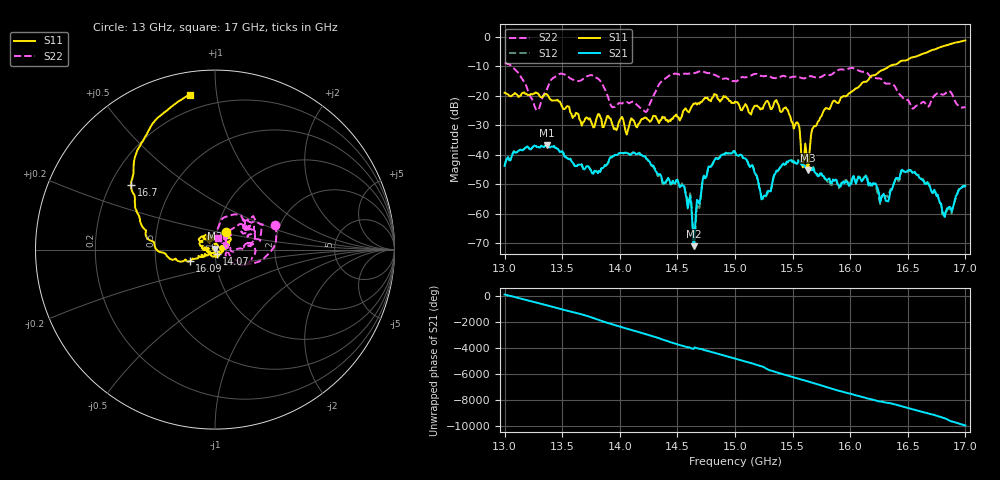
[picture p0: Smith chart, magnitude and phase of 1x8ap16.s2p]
!Keysight Technologies,P9374A,MY57211807,A.19.30.04
!Date: Friday, May 08, 2026 14:33:40
!Correction: S11(C  2-Port  )
!S21(C  2-Port  )
!S12(C  2-Port  )
!S22(C  2-Port  )
!S2P File: Measurements: S11, S21, S12, S22:
# Hz S  dB  R 50
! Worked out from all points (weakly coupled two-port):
!   401 points, 13 GHz to 17 GHz, reference 50 ohm
!   highest |S21| = -36.70 dB at 13.37 GHz (marker M1); lowest = -71.0 dB at 14.64 GHz (marker M2)
!   lowest |S11| = -45.1 dB at 15.63 GHz (marker M3), VSWR 1.01, Z = 50 + j0.554 ohm
!   |S11| at or under -10 dB: start of sweep to 16.34 GHz
!   |S22| runs from -25.4 to -8.9 dB; largest |S21 - S12| = 0.00063
!   S11 on the Smith chart (normalised r, x): 13 GHz: 1.11, +0.22; 14.07 GHz: 1.02, -0.05; 16.09 GHz: 0.75, -0.10; 16.7 GHz: 0.29, +0.31; 17 GHz: 0.12, +0.84
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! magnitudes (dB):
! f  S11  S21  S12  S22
! 13 GHz  -18.9  -43.7  -43.8  -8.9
! 13.28 GHz  -19.0  -37.3  -37.4  -24.9
! 13.37 GHz  -19.6  -36.7  -36.7  -17.6
! 13.67 GHz  -30.1  -43.3  -43.2  -14.6
! 14.07 GHz  -31.7  -39.5  -39.4  -22.2
! 14.23 GHz  -27.4  -41.3  -41.3  -25.4
! 14.34 GHz  -29.2  -46.6  -47.0  -16.2
! 14.55 GHz  -25.1  -50.3  -49.8  -12.5
! 14.64 GHz  -22.6  -71.0  -67.2  -12.3
! 14.79 GHz  -21.8  -44.0  -43.9  -12.2
! 15 GHz  -21.9  -38.9  -38.9  -15.0
! 15.16 GHz  -24.1  -44.4  -44.5  -12.6
! 15.25 GHz  -23.3  -53.8  -54.8  -13.3
! 15.45 GHz  -24.5  -42.2  -42.4  -13.7
! 15.63 GHz  -45.1  -44.5  -43.8  -13.5
! 15.67 GHz  -31.2  -45.2  -44.9  -13.4
! 16.09 GHz  -16.2  -48.2  -47.9  -11.6
! 16.34 GHz  -9.9  -54.5  -52.9  -15.8
! 16.46 GHz  -8.0  -45.4  -45.4  -20.8
! 16.7 GHz  -4.6  -51.8  -51.7  -22.0
! 16.82 GHz  -3.0  -61.1  -60.5  -19.4
! 17 GHz  -1.2  -50.5  -50.2  -23.7
